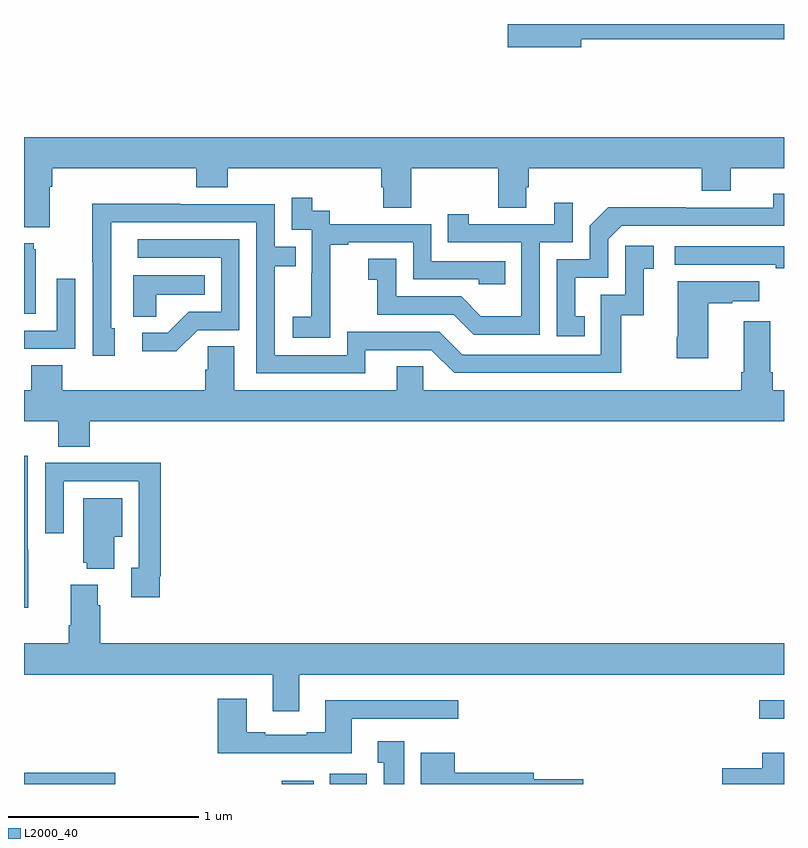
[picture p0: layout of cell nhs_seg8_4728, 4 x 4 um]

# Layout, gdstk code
import gdstk
lib = gdstk.Library(unit=1e-6, precision=1e-09)
def R(c, l, rs):  # rectangles x0, y0, x1, y1
    for r in rs: c.add(gdstk.rectangle(r[:2], r[2:], *l))
def P(c, l, *ps):  # polygons
    for p in ps: c.add(gdstk.Polygon(p, *l))
L2000_40 = (2000, 40)

nhs_seg8_4728 = lib.new_cell('nhs_seg8_4728')
R(nhs_seg8_4728, L2000_40, [(397,1139.9,397.481,1139.96), (398.357,1139.9,398.524,1139.917), (398.609,1139.9,398.805,1139.953), (400.869,1140.243,401,1140.34)])
P(nhs_seg8_4728, L2000_40, [(399.934,1143.82),(401,1143.82),(401,1143.9),(399.546,1143.9),(399.546,1143.778),(399.934,1143.778)],
  [(397.135,1143.044),(397.148,1143.044),(397.148,1143.14),(397.907,1143.14),(397.907,1143.041),(398.072,1143.041),(398.072,1143.14),(398.879,1143.14),(398.879,1143.042),(398.891,1143.042),(398.891,1142.932),(399.039,1142.932),(399.039,1143.14),(399.496,1143.14),(399.496,1142.932),(399.643,1142.932),(399.643,1143.042),(399.656,1143.042),(399.656,1143.14),(400.568,1143.14),(400.568,1143.023),(400.72,1143.023),(400.72,1143.14),(401,1143.14),(401,1143.304),(397,1143.304),(397,1142.831),(397.135,1142.831)],
  [(399.95,1142.361),(399.901,1142.361),(399.901,1142.565),(400.074,1142.565),(400.074,1142.766),(400.146,1142.838),(401,1142.838),(401,1143.007),(400.944,1143.007),(400.944,1142.934),(400.484,1142.934),(400.484,1142.936),(400.076,1142.936),(399.978,1142.838),(399.978,1142.661),(399.804,1142.661),(399.804,1142.256),(399.95,1142.256)],
  [(398.613,1142.455),(398.612,1142.455),(398.612,1142.739),(398.707,1142.739),(398.707,1142.751),(399.048,1142.751),(399.048,1142.556),(399.393,1142.556),(399.393,1142.529),(399.533,1142.529),(399.533,1142.652),(399.144,1142.652),(399.144,1142.847),(398.61,1142.847),(398.61,1142.916),(398.518,1142.916),(398.518,1142.986),(398.409,1142.986),(398.409,1142.817),(398.514,1142.817),(398.514,1142.588),(398.513,1142.588),(398.513,1142.359),(398.415,1142.359),(398.415,1142.249),(398.613,1142.249)],
  [(399.714,1142.751),(399.888,1142.751),(399.888,1142.959),(399.791,1142.959),(399.791,1142.847),(399.34,1142.847),(399.34,1142.899),(399.229,1142.899),(399.229,1142.751),(399.618,1142.751),(399.618,1142.362),(399.404,1142.362),(399.3,1142.466),(398.958,1142.466),(398.958,1142.665),(398.811,1142.665),(398.811,1142.555),(398.86,1142.555),(398.86,1142.37),(399.263,1142.37),(399.368,1142.265),(399.714,1142.265)],
  [(398.797,1142.184),(399.144,1142.184),(399.264,1142.064),(400.144,1142.064),(400.144,1142.367),(400.262,1142.367),(400.262,1142.613),(400.315,1142.613),(400.315,1142.734),(400.164,1142.734),(400.164,1142.475),(400.035,1142.475),(400.035,1142.16),(399.306,1142.16),(399.186,1142.28),(398.7,1142.28),(398.7,1142.157),(398.319,1142.157),(398.319,1142.626),(398.429,1142.626),(398.429,1142.727),(398.319,1142.727),(398.319,1142.952),(397.823,1142.952),(397.823,1142.954),(397.36,1142.954),(397.36,1142.647),(397.362,1142.647),(397.362,1142.154),(397.477,1142.154),(397.477,1142.298),(397.458,1142.298),(397.458,1142.856),(398.223,1142.856),(398.223,1142.061),(398.797,1142.061)],
  [(397.914,1142.289),(398.133,1142.289),(398.133,1142.766),(397.599,1142.766),(397.599,1142.67),(398.037,1142.67),(398.037,1142.385),(397.868,1142.385),(397.757,1142.274),(397.623,1142.274),(397.623,1142.177),(397.801,1142.177)],
  [(397.063,1142.715),(397.052,1142.715),(397.052,1142.746),(397,1142.746),(397,1142.375),(397.063,1142.375)],
  [(401,1142.73),(400.425,1142.73),(400.425,1142.634),(400.957,1142.634),(400.957,1142.614),(401,1142.614)],
  [(397.695,1142.474),(397.952,1142.474),(397.952,1142.578),(397.574,1142.578),(397.574,1142.359),(397.695,1142.359)],
  [(397.269,1142.56),(397.173,1142.56),(397.173,1142.286),(397,1142.286),(397,1142.19),(397.269,1142.19)],
  [(400.6,1142.431),(400.727,1142.431),(400.727,1142.441),(400.87,1142.441),(400.87,1142.545),(400.442,1142.545),(400.442,1142.254),(400.435,1142.254),(400.435,1142.142),(400.6,1142.142)],
  [(397.346,1141.808),(401,1141.808),(401,1141.972),(400.94,1141.972),(400.94,1142.068),(400.927,1142.068),(400.927,1142.335),(400.787,1142.335),(400.787,1142.068),(400.775,1142.068),(400.775,1141.972),(399.102,1141.972),(399.102,1142.099),(398.963,1142.099),(398.963,1141.972),(398.107,1141.972),(398.107,1142.204),(397.968,1142.204),(397.968,1142.081),(397.955,1142.081),(397.955,1141.972),(397.202,1141.972),(397.202,1142.105),(397.037,1142.105),(397.037,1141.972),(397,1141.972),(397,1141.808),(397.181,1141.808),(397.181,1141.675),(397.346,1141.675)],
  [(397.023,1141.133),(397.02,1141.133),(397.02,1141.627),(397,1141.627),(397,1140.827),(397.023,1140.827)],
  [(397.714,1140.994),(397.721,1140.994),(397.721,1141.592),(397.429,1141.592),(397.429,1141.59),(397.113,1141.59),(397.113,1141.221),(397.209,1141.221),(397.209,1141.494),(397.605,1141.494),(397.605,1141.038),(397.565,1141.038),(397.565,1140.882),(397.714,1140.882)],
  [(397.474,1141.202),(397.516,1141.202),(397.516,1141.405),(397.313,1141.405),(397.313,1141.065),(397.331,1141.065),(397.331,1141.034),(397.474,1141.034)],
  [(398.449,1140.476),(401,1140.476),(401,1140.64),(397.4,1140.64),(397.4,1140.842),(397.387,1140.842),(397.387,1140.949),(397.247,1140.949),(397.247,1140.736),(397.235,1140.736),(397.235,1140.64),(397,1140.64),(397,1140.476),(398.309,1140.476),(398.309,1140.282),(398.449,1140.282)],
  [(398.725,1140.243),(399.286,1140.243),(399.286,1140.34),(398.585,1140.34),(398.585,1140.172),(398.489,1140.172),(398.489,1140.159),(398.269,1140.159),(398.269,1140.172),(398.173,1140.172),(398.173,1140.349),(398.021,1140.349),(398.021,1140.062),(398.725,1140.062)],
  [(399.001,1140.124),(398.861,1140.124),(398.861,1140.011),(398.894,1140.011),(398.894,1139.9),(399.001,1139.9)],
  [(401,1140.064),(400.886,1140.064),(400.886,1139.984),(400.674,1139.984),(400.674,1139.9),(401,1139.9)],
  [(399.943,1139.924),(399.682,1139.924),(399.682,1139.96),(399.268,1139.96),(399.268,1140.064),(399.089,1140.064),(399.089,1139.9),(399.943,1139.9)])

lib.write_gds('nhs_seg8_4728.gds')
